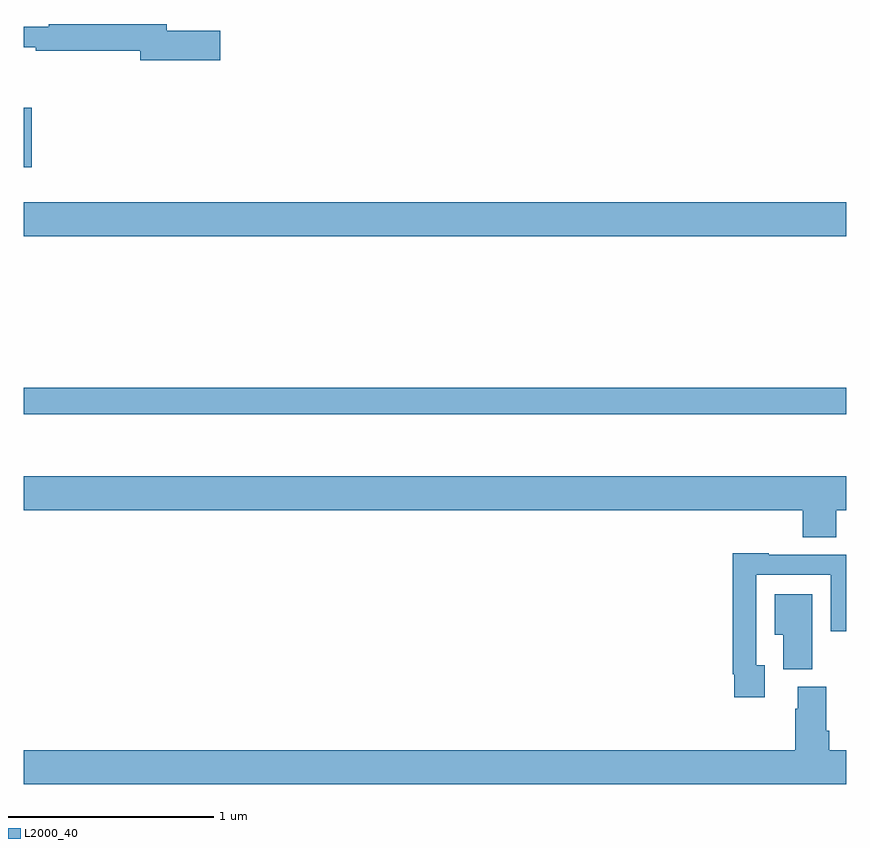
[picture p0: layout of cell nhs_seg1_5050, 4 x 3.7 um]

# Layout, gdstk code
import gdstk
lib = gdstk.Library(unit=1e-6, precision=1e-09)
def R(c, l, rs):  # rectangles x0, y0, x1, y1
    for r in rs: c.add(gdstk.rectangle(r[:2], r[2:], *l))
def P(c, l, *ps):  # polygons
    for p in ps: c.add(gdstk.Polygon(p, *l))
L2000_40 = (2000, 40)

nhs_seg1_5050 = lib.new_cell('nhs_seg1_5050')
R(nhs_seg1_5050, L2000_40, [(385,532.218,389,532.346), (385,533.084,389,533.248), (385,533.418,385.04,533.707)])
P(nhs_seg1_5050, L2000_40, [(385.957,534.081),(385.696,534.081),(385.696,534.115),(385.123,534.115),(385.123,534.102),(385,534.102),(385,534.001),(385.058,534.001),(385.058,533.986),(385.568,533.986),(385.568,533.939),(385.957,533.939)],
  [(388.952,531.752),(389,531.752),(389,531.916),(385,531.916),(385,531.752),(388.787,531.752),(388.787,531.619),(388.952,531.619)],
  [(388.603,530.997),(388.563,530.997),(388.563,531.438),(388.923,531.438),(388.923,531.162),(389,531.162),(389,531.534),(388.623,531.534),(388.623,531.541),(388.447,531.541),(388.447,530.953),(388.455,530.953),(388.455,530.841),(388.603,530.841)],
  [(388.834,531.343),(388.652,531.343),(388.652,531.146),(388.694,531.146),(388.694,530.977),(388.834,530.977)],
  [(389,530.584),(388.916,530.584),(388.916,530.68),(388.903,530.68),(388.903,530.892),(388.763,530.892),(388.763,530.786),(388.751,530.786),(388.751,530.584),(385,530.584),(385,530.42),(389,530.42)])

lib.write_gds('nhs_seg1_5050.gds')
